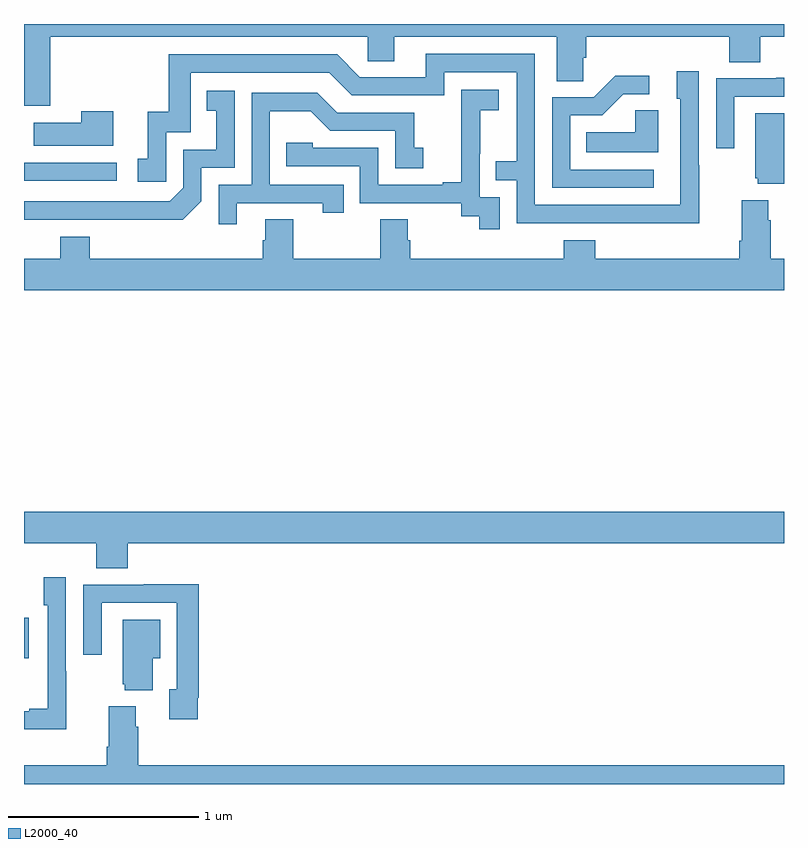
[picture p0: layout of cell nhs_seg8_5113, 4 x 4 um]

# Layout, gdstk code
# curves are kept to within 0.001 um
import gdstk
lib = gdstk.Library(unit=1e-6, precision=1e-09)
def R(c, l, rs):  # rectangles x0, y0, x1, y1
    for r in rs: c.add(gdstk.rectangle(r[:2], r[2:], *l))
def P(c, l, *ps):  # polygons
    for p in ps: c.add(gdstk.Polygon(p, *l))
L2000_40 = (2000, 40)

nhs_seg8_5113 = lib.new_cell('nhs_seg8_5113')
R(nhs_seg8_5113, L2000_40, [(419,1114.562,419.026,1114.774), (419,1117.074,419.488,1117.17)])
P(nhs_seg8_5113, L2000_40, [(419.138,1117.832),(420.81,1117.832),(420.81,1117.705),(420.949,1117.705),(420.949,1117.832),(421.805,1117.832),(421.805,1117.6),(421.944,1117.6),(421.944,1117.723),(421.958,1117.723),(421.958,1117.832),(422.711,1117.832),(422.711,1117.699),(422.876,1117.699),(422.876,1117.832),(423,1117.832),(423,1117.9),(419,1117.9),(419,1117.47),(419.138,1117.47)],
  [(422.553,1117.157),(422.55,1117.157),(422.55,1117.651),(422.435,1117.651),(422.435,1117.506),(422.454,1117.506),(422.454,1116.948),(421.689,1116.948),(421.689,1117.743),(421.115,1117.743),(421.115,1117.62),(420.768,1117.62),(420.648,1117.74),(419.761,1117.74),(419.761,1117.438),(419.651,1117.438),(419.651,1117.191),(419.598,1117.191),(419.598,1117.071),(419.748,1117.071),(419.748,1117.329),(419.877,1117.329),(419.877,1117.644),(420.606,1117.644),(420.726,1117.524),(421.212,1117.524),(421.212,1117.647),(421.593,1117.647),(421.593,1117.178),(421.483,1117.178),(421.483,1117.077),(421.593,1117.077),(421.593,1116.852),(422.553,1116.851)],
  [(422.314,1117.134),(421.875,1117.134),(421.875,1117.419),(422.044,1117.419),(422.155,1117.53),(422.29,1117.53),(422.29,1117.628),(422.111,1117.628),(421.998,1117.515),(421.779,1117.515),(421.779,1117.038),(422.314,1117.038)],
  [(422.739,1117.518),(423,1117.518),(423,1117.616),(422.959,1117.616),(422.959,1117.614),(422.643,1117.614),(422.643,1117.245),(422.739,1117.245)],
  [(421.503,1116.987),(421.398,1116.987),(421.398,1117.217),(421.4,1117.217),(421.4,1117.445),(421.498,1117.445),(421.498,1117.555),(421.3,1117.555),(421.3,1117.349),(421.301,1117.349),(421.301,1117.066),(421.205,1117.066),(421.205,1117.053),(420.864,1117.053),(420.864,1117.248),(420.519,1117.248),(420.519,1117.275),(420.379,1117.275),(420.379,1117.152),(420.768,1117.152),(420.768,1116.957),(421.302,1116.957),(421.302,1116.889),(421.395,1116.889),(421.395,1116.819),(421.503,1116.819)],
  [(419.934,1116.966),(419.934,1117.143),(420.108,1117.143),(420.108,1117.549),(419.962,1117.549),(419.962,1117.443),(420.011,1117.443),(420.011,1117.239),(419.838,1117.239),(419.838,1117.038),(419.766,1116.966),(419,1116.966),(419,1116.87),(419.836,1116.869)],
  [(420.121,1116.957),(420.572,1116.957),(420.572,1116.906),(420.683,1116.906),(420.683,1117.053),(420.294,1117.053),(420.294,1117.442),(420.508,1117.442),(420.612,1117.338),(420.954,1117.338),(420.954,1117.14),(421.102,1117.14),(421.102,1117.249),(421.053,1117.249),(421.053,1117.434),(420.649,1117.434),(420.544,1117.539),(420.198,1117.539),(420.198,1117.053),(420.024,1117.053),(420.024,1116.846),(420.121,1116.846)],
  [(422.338,1117.445),(422.217,1117.445),(422.217,1117.33),(421.96,1117.33),(421.96,1117.226),(422.338,1117.226)],
  [(419.47,1117.441),(419.3,1117.441),(419.3,1117.381),(419.051,1117.381),(419.051,1117.259),(419.47,1117.259)],
  [(423,1117.429),(422.849,1117.429),(422.849,1117.089),(422.861,1117.089),(422.861,1117.058),(423,1117.058)],
  [(423,1116.664),(422.93,1116.664),(422.93,1116.866),(422.917,1116.866),(422.917,1116.973),(422.777,1116.973),(422.777,1116.76),(422.765,1116.76),(422.765,1116.664),(422.006,1116.664),(422.006,1116.763),(421.841,1116.763),(421.841,1116.664),(421.034,1116.664),(421.034,1116.762),(421.021,1116.762),(421.021,1116.872),(420.874,1116.872),(420.874,1116.664),(420.417,1116.664),(420.417,1116.872),(420.269,1116.872),(420.269,1116.762),(420.257,1116.762),(420.257,1116.664),(419.345,1116.664),(419.345,1116.781),(419.192,1116.781),(419.192,1116.664),(419,1116.664),(419,1116.5),(423,1116.5)],
  [(419.546,1115.168),(423,1115.168),(423,1115.332),(419,1115.332),(419,1115.168),(419.381,1115.168),(419.381,1115.035),(419.546,1115.035)],
  [(419.223,1114.493),(419.22,1114.493),(419.22,1114.987),(419.105,1114.987),(419.105,1114.842),(419.124,1114.842),(419.124,1114.297),(419.027,1114.297),(419.027,1114.284),(419,1114.284),(419,1114.187),(419.223,1114.187)],
  [(419.914,1114.354),(419.921,1114.354),(419.921,1114.952),(419.629,1114.952),(419.629,1114.95),(419.313,1114.95),(419.313,1114.581),(419.409,1114.581),(419.409,1114.854),(419.805,1114.854),(419.805,1114.398),(419.765,1114.398),(419.765,1114.242),(419.914,1114.242)],
  [(419.677,1114.562),(419.716,1114.562),(419.716,1114.765),(419.519,1114.765),(419.519,1114.425),(419.531,1114.425),(419.531,1114.394),(419.677,1114.394)],
  [(423,1114),(419.6,1114),(419.6,1114.202),(419.587,1114.202),(419.587,1114.309),(419.447,1114.309),(419.447,1114.096),(419.435,1114.096),(419.435,1114),(419,1114),(419,1113.9),(423,1113.9)])

lib.write_gds('nhs_seg8_5113.gds')
